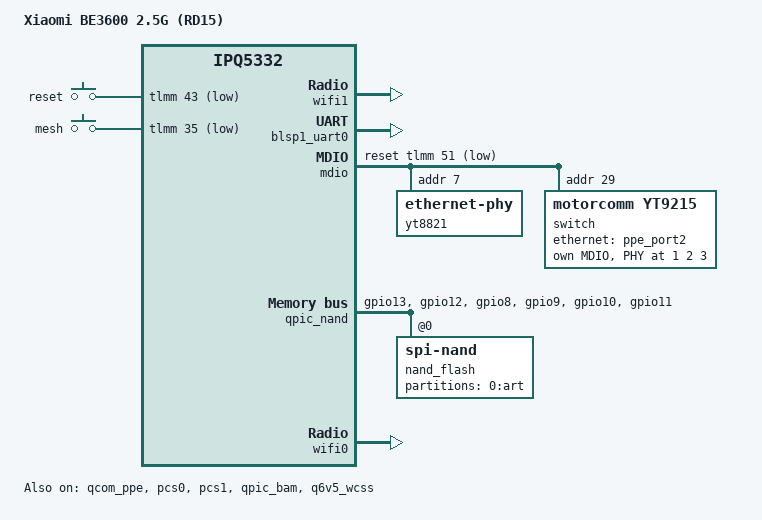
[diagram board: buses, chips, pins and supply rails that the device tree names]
// SPDX-License-Identifier: (GPL-2.0+ OR BSD-3-Clause)
/*
 * Xiaomi BE3600 2.5G (RD15)
 *
 * IPQ5332 / AP-MI04.1-C2 (same reference board as GL.iNet GL-BE3600)
 * - 256 MiB DDR (U-Boot fixes /memory to 0x40000000+0x10000000); the
 *   reserved map below is the stock Xiaomi 1.0.87 one (Q6 256M profile).
 * - PPE port1 / 2.5G port is not enabled below. The stock DTB lists both
 *   QCA8081 at MDIO 0x0c and YT8821 at 0x07; this unit reported YT8821.
 *   PPE port2 <- PCS1 <- 2500base-x fixed link to a Motorcomm YT9215S
 *   switch with the three 1G ports (initialised by stock U-Boot).
 * - SPI NAND GD5F1GM7REYIG 128 MiB on QPIC, host ECC 8 bit / 512 B;
 *   partitions from SMEM (rootfs = mtd slot 0, rootfs_1 = slot 1).
 * - Wi-Fi: integrated 2.4G (stock board_id 0x13) + QCN6432 5G (0x60).
 *
 * Facts derived from the stock 1.0.87 DTB and a running unit.
 */

/dts-v1/;

#include <arm64/qcom/ipq5332.dtsi>

#include <dt-bindings/gpio/gpio.h>
#include <dt-bindings/input/input.h>
#include <dt-bindings/clock/qcom,ipq5332-nsscc.h>

/ {
	#address-cells = <0x2>;
	#size-cells = <0x2>;
	model = "Xiaomi BE3600 2.5G (RD15)";
	compatible = "xiaomi,rd15", "qcom,ipq5332";

	aliases {
		serial0 = &blsp1_uart0;
	};

	chosen {
		stdout-path = "serial0:115200n8";
		/* Stock U-Boot passes "ubi.mtd=rootfs root=mtd:ubi_rootfs ...";
		 * the later root= wins. clk_ignore_unused as stock.
		 */
		bootargs-append = " ubi.block=0,ubi_rootfs root=/dev/ubiblock0_1 clk_ignore_unused";
	};

	reserved-memory {
		#address-cells = <2>;
		#size-cells = <2>;
		ranges;

		/* 0x4a900000-0x4cc00000: Q6 root PD code + PD1 data (stock
		 * q6_code_data + q6_ipq5332_data). q6_region is resized below.
		 */
		m3_dump: m3-dump@4cc00000 {
			reg = <0x0 0x4cc00000 0x0 0x100000>;
			no-map;
		};

		q6_etr: q6-etr-dump@4cd00000 {
			reg = <0x0 0x4cd00000 0x0 0x100000>;
			no-map;
		};

		q6_qcn6432_data: q6-qcn6432-data@4ce00000 {
			reg = <0x0 0x4ce00000 0x0 0x1000000>;
			no-map;
		};

		m3_dump_qcn6432: m3-dump-qcn6432@4de00000 {
			reg = <0x0 0x4de00000 0x0 0x100000>;
			no-map;
		};

		q6_qcn6432_etr: q6-qcn6432-etr@4df00000 {
			reg = <0x0 0x4df00000 0x0 0x100000>;
			no-map;
		};

		mlo_mem: mlo-global-mem@4e000000 {
			reg = <0x0 0x4e000000 0x0 0x700000>;
			no-map;
		};

		rsvd1@4e700000 {
			reg = <0x0 0x4e700000 0x0 0x80000>;
			no-map;
		};

		/* Stock has no caldb regions (cold-boot calibration off in the
		 * 256M profile); ath12k wants the handle, so carve them from the
		 * top of RAM.
		 */
		q6_caldb: q6-caldb@4f000000 {
			reg = <0x0 0x4f000000 0x0 0x500000>;
			no-map;
		};

		q6_qcn6432_caldb: q6-qcn6432-caldb@4f500000 {
			reg = <0x0 0x4f500000 0x0 0x500000>;
			no-map;
		};
	};

	soc@0 {
		wifi1: wifi-qcn6432 {
			compatible = "qcom,qcn6432-wifi";
			msi-parent = <&v2m0>;
			interrupts-extended = <&smp2p_wcss_in 16 IRQ_TYPE_NONE>,
					      <&smp2p_wcss_in 17 IRQ_TYPE_NONE>,
					      <&smp2p_wcss_in 20 IRQ_TYPE_NONE>,
					      <&smp2p_wcss_in 19 IRQ_TYPE_NONE>;
			interrupt-names = "fatal",
					  "ready",
					  "spawn",
					  "stop-ack";
			qcom,smem-states = <&smp2p_wcss_out 16>,
					   <&smp2p_wcss_out 17>,
					   <&smp2p_wcss_out 18>;
			qcom,smem-state-names = "shutdown",
						"stop",
						"spawn";
			firmware-name = "ath12k/QCN6432/hw1.0/q6_fw2.mdt",
					"ath12k/QCN6432/hw1.0/iu_fw.mdt";
			memory-region = <&q6_region>, <&m3_dump_qcn6432>,
					<&q6_qcn6432_caldb>, <&mlo_mem>,
					<&q6_qcn6432_data>;
			memory-region-names = "q6-region", "m3-dump", "q6-caldb",
					      "mlo-global-mem", "host-ddr-mem";
			qcom,bdf-address-offset = <0>;
			qcom,board-id = <96>;
			nvmem-cells = <&base_macaddr 3>;
			nvmem-cell-names = "mac-address";
			qcom,legacy-userpd-bootinfo;
			qcom,rproc = <&q6v5_wcss>;
			status = "okay";
		};

		gpio_keys {
			compatible = "gpio-keys";
			pinctrl-0 = <&button_pins>;
			pinctrl-names = "default";
			status = "okay";

			reset {
				label = "reset";
				linux,code = <KEY_RESTART>;
				gpios = <&tlmm 43 GPIO_ACTIVE_LOW>;
			};

			wps {
				label = "mesh";
				linux,code = <KEY_WPS_BUTTON>;
				gpios = <&tlmm 35 GPIO_ACTIVE_LOW>;
			};
		};
	};
};

&blsp1_uart0 {
	pinctrl-0 = <&serial_0_pins>;
	pinctrl-names = "default";
	status = "okay";
};

&tlmm {
	qspi_nand_pins: qspi_nand_pins {
		qspi_clock {
			pins = "gpio13";
			function = "qspi_clk";
			drive-strength = <8>;
			bias-disable;
		};

		qspi_cs {
			pins = "gpio12";
			function = "qspi_cs";
			drive-strength = <8>;
			bias-disable;
		};

		qspi_data {
			pins = "gpio8", "gpio9", "gpio10", "gpio11";
			function = "qspi_data";
			drive-strength = <8>;
			bias-disable;
		};
	};

	button_pins: button_pins {
		reset_button {
			pins = "gpio43";
			function = "gpio";
			drive-strength = <8>;
			bias-pull-up;
		};

		mesh_button {
			pins = "gpio35";
			function = "gpio";
			drive-strength = <8>;
			bias-pull-up;
		};
	};
};

&mdio {
	status = "okay";
	/* Bus-level reset, as the stock DTB's phy-reset-gpio: the 6.18 MDIO
	 * core only honours per-device reset-gpios for PHYs, not for the
	 * switch, but releases a bus reset before scanning.
	 */
	reset-gpios = <&tlmm 51 GPIO_ACTIVE_LOW>;
	reset-delay-us = <10000>;
	reset-post-delay-us = <100000>;

	/* The stock firmware selects QCA8081 if MDIO 0x0c is present, otherwise
	 * YT8821. A prior stock-side read on this unit found YT8821 at 0x07
	 * (id 0x4f51ea19), with no response at 0x0c. The PPE port 1 MAC is not
	 * described yet, so the 2.5G jack cannot be judged from this
	 * OpenWrt build.
	 * GPIO51 is the stock bus-wide PHY/switch reset. It idles as an input
	 * with pull-down, i.e. the YT9215S stays in reset unless U-Boot brought
	 * up its network (it does not on an autonomous bootmiwifi boot): the
	 * MDIO core releases it when the bus registers.
	 */
	/* RAM test A: identify this unit's YT8821 before enabling PPE port 1.
	 * GPIO51 already resets the entire MDIO bus; do not reset this PHY
	 * separately while the YT9215S switch is in service.
	 */
	yt8821: ethernet-phy@7 {
		reg = <7>;
	};

	/* Motorcomm YT9215S: LAN1-3 = internal PHYs 1-3 (stock "Lan2: Phy2"),
	 * CPU on external port 8 at 2500base-x towards PPE port 2.
	 */
	switch@1d {
		compatible = "motorcomm,yt9215";
		reg = <0x1d>;

		mdio {
			#address-cells = <1>;
			#size-cells = <0>;

			sw_phy1: phy@1 {
				reg = <1>;
			};

			sw_phy2: phy@2 {
				reg = <2>;
			};

			sw_phy3: phy@3 {
				reg = <3>;
			};
		};

		ethernet-ports {
			#address-cells = <1>;
			#size-cells = <0>;

			ethernet-port@1 {
				reg = <1>;
				label = "lan1";
				phy-mode = "internal";
				phy-handle = <&sw_phy1>;
			};

			ethernet-port@2 {
				reg = <2>;
				label = "lan2";
				phy-mode = "internal";
				phy-handle = <&sw_phy2>;
			};

			ethernet-port@3 {
				reg = <3>;
				label = "lan3";
				phy-mode = "internal";
				phy-handle = <&sw_phy3>;
			};

			ethernet-port@8 {
				reg = <8>;
				phy-mode = "2500base-x";
				ethernet = <&ppe_port2>;

				fixed-link {
					speed = <2500>;
					full-duplex;
					pause;
				};
			};
		};
	};
};

&qcom_ppe {
	status = "okay";

	ethernet-ports {
		#address-cells = <1>;
		#size-cells = <0>;

		/* RAM test B: standalone 2.5G jack, not added to br-lan. Omit a
		 * board MAC until the stock eth1 offset has been confirmed; the
		 * driver assigns a random MAC for this isolated test.
		 */
		port@1 {
			reg = <1>;
			phy-mode = "sgmii";
			label = "eth1";
			phy-handle = <&yt8821>;
			pcs-handle = <&pcs0_ch0>;
			clocks = <&nsscc NSS_CC_PORT1_MAC_CLK>,
				 <&nsscc NSS_CC_PORT1_RX_CLK>,
				 <&nsscc NSS_CC_PORT1_TX_CLK>;
			clock-names = "mac", "rx", "tx";
			resets = <&nsscc NSS_CC_PORT1_MAC_CLK_ARES>,
				 <&nsscc NSS_CC_PORT1_RX_CLK_ARES>,
				 <&nsscc NSS_CC_PORT1_TX_CLK_ARES>;
			reset-names = "mac", "rx", "tx";
		};

		/* Stock: port_id 2, forced-speed 2500 full duplex, to YT9215S */
		ppe_port2: port@2 {
			reg = <2>;
			phy-mode = "2500base-x";
			label = "eth0";
			nvmem-cells = <&base_macaddr 1>;
			nvmem-cell-names = "mac-address";
			pcs-handle = <&pcs1_ch0>;
			clocks = <&nsscc NSS_CC_PORT2_MAC_CLK>,
				 <&nsscc NSS_CC_PORT2_RX_CLK>,
				 <&nsscc NSS_CC_PORT2_TX_CLK>;
			clock-names = "mac", "rx", "tx";
			resets = <&nsscc NSS_CC_PORT2_MAC_CLK_ARES>,
				 <&nsscc NSS_CC_PORT2_RX_CLK_ARES>,
				 <&nsscc NSS_CC_PORT2_TX_CLK_ARES>;
			reset-names = "mac", "rx", "tx";

			fixed-link {
				speed = <2500>;
				full-duplex;
				/* The 1G user ports have small egress buffers: without
				 * pause on this 2.5G link the switch drops TSO bursts
				 * from the CPU (TCP router->LAN capped near 500 Mb/s
				 * with ~11k retransmissions per 15 s).
				 */
				pause;
			};
		};
	};
};

&pcs0 {
	status = "okay";
};

&pcs1 {
	status = "okay";
};

&qpic_nand {
	pinctrl-0 = <&qspi_nand_pins>;
	pinctrl-names = "default";
	status = "okay";

	nand_flash: flash@0 {
		compatible = "spi-nand";
		reg = <0>;
		#address-cells = <1>;
		#size-cells = <1>;
		/* Test 3: host ECC 8/512 like GL (4/512 gave -EBADMSG, on-die
		 * returned the QPIC codeword layout raw).
		 */
		nand-ecc-engine = <&qpic_nand>;
		nand-ecc-strength = <8>;
		nand-ecc-step-size = <512>;

		partitions {
			compatible = "qcom,smem-part";

			partition-0-art {
				label = "0:art";
				read-only;

				nvmem-layout {
					compatible = "fixed-layout";
					#address-cells = <1>;
					#size-cells = <1>;

					base_macaddr: mac-address@6 {
						compatible = "mac-base";
						reg = <0x6 0x6>;
						#nvmem-cell-cells = <1>;
					};
				};
			};
		};
	};
};

&qpic_bam {
	status = "okay";
};

&ref_48mhz_clk {
	clock-div = <1>;
	clock-mult = <1>;
};

&sleep_clk {
	clock-frequency = <32000>;
};

&xo_board {
	clock-div = <2>;
	clock-mult = <1>;
};

&xo_clk {
	clock-frequency = <48000000>;
};

/* Root PD code + PD1 data: 0x4a900000-0x4cc00000 (stock 256M layout) */
&q6_region {
	reg = <0x0 0x4a900000 0x0 0x2300000>;
};

&wifi0 {
	firmware-name = "ath12k/IPQ5332/hw1.0/q6_fw1.mdt",
			"ath12k/IPQ5332/hw1.0/iu_fw.mdt";
	memory-region = <&q6_region>, <&m3_dump>, <&q6_caldb>, <&mlo_mem>;
	memory-region-names = "q6-region", "m3-dump", "q6-caldb", "mlo-global-mem";
	/* stock qcom,bdf-addr 0x4bd00000 */
	qcom,bdf-address-offset = <0x1400000>;
	qcom,board-id = <0x13>;
	nvmem-cells = <&base_macaddr 2>;
	nvmem-cell-names = "mac-address";
	qcom,legacy-userpd-bootinfo;
	qcom,rproc = <&q6v5_wcss>;
	status = "okay";
};

&q6v5_wcss {
	firmware-name = "ath12k/IPQ5332/hw1.0/q6_fw0.mdt";
	/* Stock RD15 (fw 1.3) uses <1 4 3 1 0x2f 2>; with the WLAN.WBE.1.4
	 * firmware that made PD2 die with err_smem_ver. GL-BE3600 record,
	 * which matches fw 1.4:
	 */
	boot-args = <1 5 3 1 0x2f 2 0>;
	status = "okay";
};
